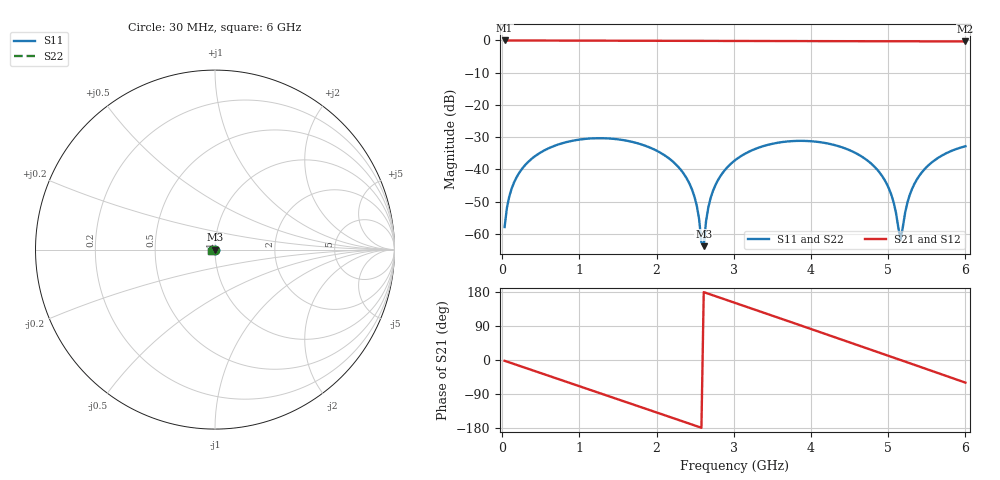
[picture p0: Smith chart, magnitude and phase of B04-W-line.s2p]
! yapnr Order 0 O0-W: O0-W B04 W dL34 (line, family W)
! stackup OSHPARK-4L-FR408HR, nominal parameters; geometry of the OSHPARK-4L-FR408HR design
! model: 2D quasi-static RLGC (Djordjevic-Sarkar, Huray roughness, Wheeler loss); generated by python -m yapnr.rf.coupons expected --stackup OSHPARK-4L-FR408HR --upload W
! reference planes 10 mm from each end; 50 ohm (from the W line's Zc)
# GHz S DB R 50
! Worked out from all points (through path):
!   200 points, 30 MHz to 6 GHz, reference 50 ohm
!   highest |S21| = 0.00 dB at 30 MHz (marker M1); lowest = -0.3 dB at 6 GHz (marker M2)
!   group delay of S21, straight-line fit = 194 ps
!   lowest |S11| = -63.8 dB at 2.61 GHz (marker M3), VSWR 1.00, Z = 49.9 - j0.0406 ohm
!   |S11| at or under -10 dB: start of sweep to end of sweep
!   |S22| runs from -63.8 to -30.3 dB; largest |S21 - S12| = 0
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0.03  -57.87 -88.3  -0.00 -2.1  -0.00 -2.1  -57.87 -88.3
0.12  -46.02 -99.7  -0.01 -8.4  -0.01 -8.4  -46.02 -99.7
0.3  -38.54 -114.1  -0.02 -20.8  -0.02 -20.8  -38.54 -114.1
1.05  -30.59 -167.6  -0.06 -72.7  -0.06 -72.7  -30.59 -167.6
1.53  -30.77 159.0  -0.09 -105.9  -0.09 -105.9  -30.77 159.0
2.04  -34.70 124.1  -0.11 -141.3  -0.11 -141.3  -34.70 124.1
2.43  -44.66 100.0  -0.13 -168.4  -0.13 -168.4  -44.66 100.0
2.52  -51.28 98.8  -0.13 -174.7  -0.13 -174.7  -51.28 98.8
2.58  -62.63 122.5  -0.13 -178.8  -0.13 -178.8  -62.63 122.5
2.61  -63.80 -141.0  -0.14 179.1  -0.14 179.1  -63.80 -141.0
2.67  -51.71 -111.1  -0.14 174.9  -0.14 174.9  -51.71 -111.1
2.73  -46.65 -110.9  -0.14 170.7  -0.14 170.7  -46.65 -110.9
3.03  -36.89 -128.0  -0.16 149.8  -0.16 149.8  -36.89 -128.0
3.54  -31.85 -162.6  -0.18 114.1  -0.18 114.1  -31.85 -162.6
4.02  -31.29 164.4  -0.21 80.4  -0.21 80.4  -31.29 164.4
4.65  -35.90 121.8  -0.24 36.1  -0.24 36.1  -35.90 121.8
5.01  -45.96 103.0  -0.25 10.6  -0.25 10.6  -45.96 103.0
5.1  -53.36 109.6  -0.26 4.2  -0.26 4.2  -53.36 109.6
5.16  -61.84 173.8  -0.26 -0.0  -0.26 -0.0  -61.84 173.8
5.25  -50.17 -118.2  -0.27 -6.4  -0.27 -6.4  -50.17 -118.2
5.4  -42.06 -119.5  -0.27 -17.0  -0.27 -17.0  -42.06 -119.5
6  -32.82 -157.6  -0.30 -59.7  -0.30 -59.7  -32.82 -157.6
